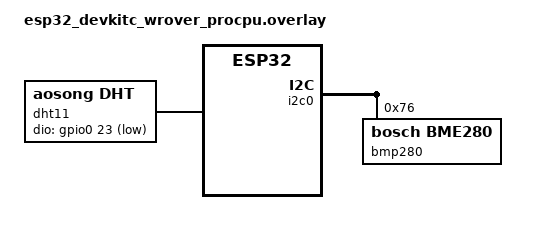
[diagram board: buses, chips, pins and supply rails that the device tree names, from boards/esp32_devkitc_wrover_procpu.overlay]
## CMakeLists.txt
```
# SPDX-License-Identifier: Apache-2.0

cmake_minimum_required(VERSION 3.20.0)

find_package(Zephyr REQUIRED HINTS $ENV{ZEPHYR_BASE})
project(seaas-zephyr-kernel-thread-sensor-read)

target_sources(app PRIVATE src/main.c)
```

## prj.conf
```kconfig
# empty config
CONFIG_SENSOR=y
CONFIG_SENSOR_ASYNC_API=y
CONFIG_GPIO=y

CONFIG_REQUIRES_FULL_LIBC=y
CONFIG_REQUIRES_FLOAT_PRINTF=y
CONFIG_CBPRINTF_FP_SUPPORT=y
```

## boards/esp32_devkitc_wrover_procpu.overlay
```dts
/*
 * SPDX-License-Identifier: Apache-2.0
 */

/ {
	dht11 {
		compatible = "aosong,dht";
		status = "okay";
		dio-gpios = <&gpio0 23 (GPIO_PULL_UP | GPIO_ACTIVE_LOW)>;
	};

};

&i2c0 {
	bmp280@76 {
		compatible = "bosch,bme280";
		reg = <0x76>;
		status = "okay";
	};
};
```

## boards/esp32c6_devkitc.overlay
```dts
/*
 * SPDX-License-Identifier: Apache-2.0
 */

#if 0
#include <zephyr/dt-bindings/pinctrl/esp-pinctrl-common.h>
#include <dt-bindings/pinctrl/esp32c6-pinctrl.h>
#include <zephyr/dt-bindings/pinctrl/esp32c6-gpio-sigmap.h>
#endif

/ {
	dht11 {
		compatible = "aosong,dht";
		status = "okay";
		dio-gpios = <&gpio0 15 (GPIO_PULL_UP | GPIO_ACTIVE_LOW)>;
	};

	sens_i2c: sensor-i2c {
		status = "okay";
		compatible = "gpio-i2c";
		clock-frequency = <100000>;
		sda-gpios = <&gpio0 0 GPIO_OPEN_DRAIN>;
		scl-gpios = <&gpio0 1 GPIO_OPEN_DRAIN>;
		#address-cells = <1>;
		#size-cells = <0>;
		bmp280@76 {
			compatible = "bosch,bme280";
			reg = <0x76>;
			status = "okay";
		};
	};
};

#if 0
&pinctrl {
	i2c0_default: i2c0_default {
		group1 {
			pinmux = <ESP32_PINMUX(0, ESP_I2CEXT0_SDA_IN, ESP_I2CEXT0_SDA_OUT)>,
			         <ESP32_PINMUX(1, ESP_I2CEXT0_SCL_IN, ESP_I2CEXT0_SCL_OUT)>;
			bias-pull-up;
			drive-open-drain;
			output-high;
		};
	};
};
#endif
```

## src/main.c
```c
/*
 * Copyright (c) 2019 Nordic Semiconductor ASA
 *
 * SPDX-License-Identifier: Apache-2.0
 */

#include <zephyr/kernel.h>
#include <zephyr/device.h>
#include <zephyr/devicetree.h>
#include <zephyr/drivers/sensor.h>
#include <zephyr/drivers/sensor_data_types.h>
#include <zephyr/rtio/rtio.h>
#include <zephyr/dsp/print_format.h>
#include <stdio.h>

K_THREAD_STACK_DEFINE(dht_thread_stack_area, 1024);
struct k_thread dht_thread;
K_THREAD_STACK_DEFINE(bmp_thread_stack_area, 2048);
struct k_thread bmp_thread;

SENSOR_DT_READ_IODEV(iodev, DT_COMPAT_GET_ANY_STATUS_OKAY(bosch_bme280),
		{SENSOR_CHAN_AMBIENT_TEMP, 0},
		{SENSOR_CHAN_HUMIDITY, 0},
		{SENSOR_CHAN_PRESS, 0});
RTIO_DEFINE(ctx, 1, 1);

void dht_read(void *p1, void *p2, void *p3)
{
	const struct device *const dht11 = DEVICE_DT_GET_ONE(aosong_dht);

	while (!device_is_ready(dht11)) {
		printf("Device %s is not ready\n", dht11->name);
		k_sleep(K_SECONDS(2));
	}

	printf("[DHT] Zephyr starting\n");
	while (true) {
		int rc = sensor_sample_fetch(dht11);

		if (rc != 0) {
			printf("Sensor fetch failed: %d\n", rc);
			k_sleep(K_MSEC(100));
			continue;
		}

		struct sensor_value temperature;
		struct sensor_value humidity;

		rc = sensor_channel_get(dht11, SENSOR_CHAN_AMBIENT_TEMP,
					&temperature);
		if (rc == 0) {
			rc = sensor_channel_get(dht11, SENSOR_CHAN_HUMIDITY,
						&humidity);
		}
		if (rc != 0) {
			printf("get failed: %d\n", rc);
			break;
		}

		printf("[DHT]: Temp: %.5fC Humidity: %.5f%%\n",
		       sensor_value_to_double(&temperature),
		       sensor_value_to_double(&humidity));
		k_sleep(K_SECONDS(2));
	}
}

void bmp_read(void *p1, void *p2, void *p3)
{
	const struct device *const bmp280 = DEVICE_DT_GET_ONE(bosch_bme280);

	while (!device_is_ready(bmp280)) {
		printf("Device %s is not ready\n", bmp280->name);
		k_sleep(K_SECONDS(2));
	}

	printf("[BMP] Zephyr starting\n");
	while (true) {
		uint8_t buf[128];
		int rc = sensor_read(&iodev, &ctx, buf, 128);

		if (rc != 0) {
			printf("[BMP] Sensor read failed: %d\n", rc);
			break;
		}

		/* Can we move it above? */
		const struct sensor_decoder_api *decoder;
		rc = sensor_get_decoder(bmp280, &decoder);
		if (rc != 0) {
			printf("[BMP] get decode failed: %d\n", rc);
		}

		uint32_t temp_fit = 0;
		struct sensor_q31_data temp_data = {0};
		decoder->decode(buf,
				(struct sensor_chan_spec) {SENSOR_CHAN_AMBIENT_TEMP, 0},
				&temp_fit, 1, &temp_data);

		printf("[BMP]: Temp: %s%d.%dC\n",
		       PRIq_arg(temp_data.readings[0].temperature, 6, temp_data.shift));
		k_sleep(K_SECONDS(2));
	}
}

int main(void)
{
	k_tid_t dht_thread_tid = k_thread_create(&dht_thread, dht_thread_stack_area,
					 K_THREAD_STACK_SIZEOF(dht_thread_stack_area),
					 dht_read,
					 NULL, NULL, NULL,
					 5, 0, K_SECONDS(2));
	k_tid_t bmp_thread_tid = k_thread_create(&bmp_thread, bmp_thread_stack_area,
					 K_THREAD_STACK_SIZEOF(bmp_thread_stack_area),
					 bmp_read,
					 NULL, NULL, NULL,
					 5, 0, K_SECONDS(2));
	k_thread_join(bmp_thread_tid, K_FOREVER);
	k_thread_join(dht_thread_tid, K_FOREVER);

	return 0;
}
```
